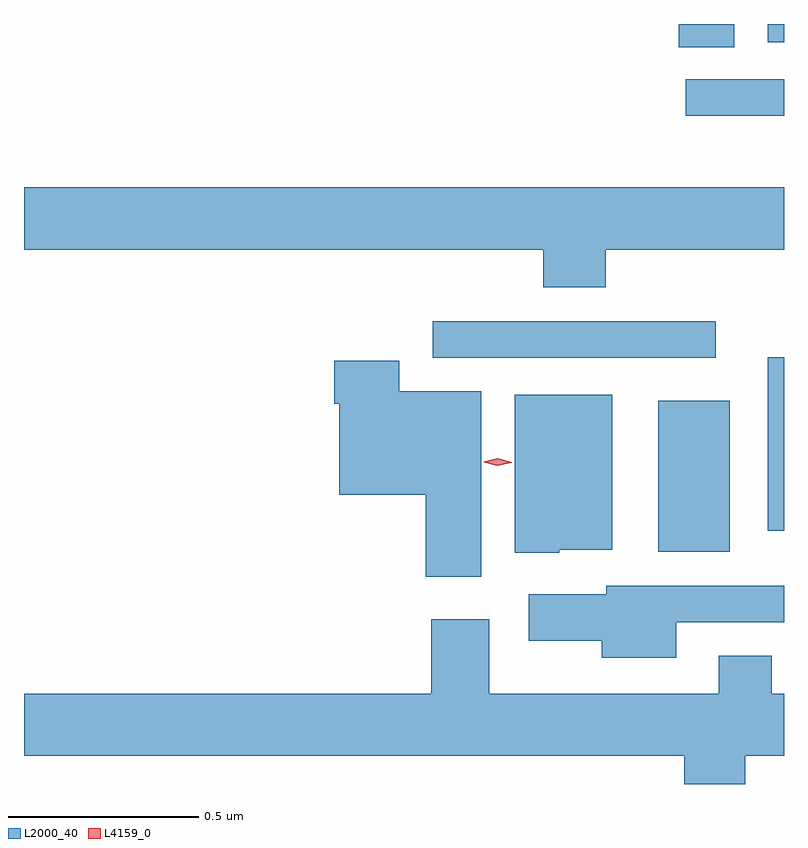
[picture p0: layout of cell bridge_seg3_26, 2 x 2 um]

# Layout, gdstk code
import gdstk
lib = gdstk.Library(unit=1e-6, precision=1e-09)
def R(c, l, rs):  # rectangles x0, y0, x1, y1
    for r in rs: c.add(gdstk.rectangle(r[:2], r[2:], *l))
def P(c, l, *ps):  # polygons
    for p in ps: c.add(gdstk.Polygon(p, *l))
L2000_40 = (2000, 40)
L4159_0 = (4159, 0)

bridge_seg3_26 = lib.new_cell('bridge_seg3_26')
R(bridge_seg3_26, L2000_40, [(718.298,730.757,718.486,731.155), (718.586,730.812,718.629,731.269), (717.705,731.268,718.45,731.364), (718.371,731.904,718.629,732), (718.352,732.085,718.498,732.146), (718.586,732.098,718.629,732.146)])
P(bridge_seg3_26, L2000_40, [(718.16,731.552),(718.629,731.552),(718.629,731.716),(716.629,731.716),(716.629,731.552),(717.995,731.552),(717.995,731.453),(718.16,731.453)],
  [(717.832,731.179),(717.616,731.179),(717.616,731.26),(717.446,731.26),(717.446,731.147),(717.458,731.147),(717.458,730.907),(717.686,730.907),(717.686,730.692),(717.832,730.692)],
  [(718.038,730.763),(718.177,730.763),(718.177,731.17),(717.92,731.17),(717.92,730.754),(718.038,730.754)],
  [(718.345,730.572),(718.629,730.572),(718.629,730.668),(718.161,730.668),(718.161,730.645),(717.957,730.645),(717.957,730.523),(718.15,730.523),(718.15,730.478),(718.345,730.478)],
  [(718.527,730.22),(718.629,730.22),(718.629,730.384),(718.597,730.384),(718.597,730.483),(718.457,730.483),(718.457,730.384),(717.853,730.384),(717.853,730.579),(717.701,730.579),(717.701,730.384),(716.629,730.384),(716.629,730.22),(718.367,730.22),(718.367,730.146),(718.527,730.146)])
P(bridge_seg3_26, L4159_0, [(717.875,730.983),(717.839,730.993),(717.839,730.994),(717.839,730.994),(717.876,731.003),(717.912,730.993),(717.912,730.992),(717.912,730.992)])

lib.write_gds('bridge_seg3_26.gds')
